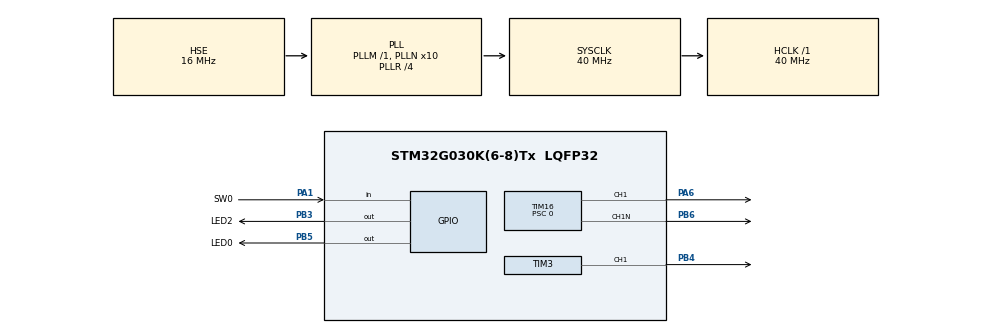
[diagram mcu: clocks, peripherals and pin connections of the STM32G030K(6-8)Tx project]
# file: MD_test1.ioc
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Mcu.Family=STM32G0
Mcu.Name=STM32G030K(6-8)Tx
Mcu.Package=LQFP32
PA1.GPIO_Label=SW0
PA1.Signal=GPIO_Input
PA6.Signal=S_TIM16_CH1
PB3.GPIO_Label=LED2
PB3.Signal=GPIO_Output
PB4.Signal=S_TIM3_CH1
PB5.GPIO_Label=LED0
PB5.Signal=GPIO_Output
PB6.Mode=PWM Generation1 CH1 CH1N
PB6.Signal=TIM16_CH1N
PC14-OSC32_IN\ (PC14).Mode=HSE-External-Clock-Source
PC14-OSC32_IN\ (PC14).Signal=RCC_OSC_IN
ProjectManager.HeapSize=0x200
ProjectManager.StackSize=0x400
ProjectManager.TargetToolchain=STM32CubeIDE
RCC.ADCFreq_Value=40000000
RCC.AHBFreq_Value=40000000
RCC.CortexFreq_Value=40000000
RCC.EXTERNAL_CLOCK_VALUE=12288000
RCC.HCLKFreq_Value=40000000
RCC.HSE_VALUE=16000000
RCC.HSI_VALUE=16000000
RCC.LSE_VALUE=32768
RCC.PLLN=10
RCC.PLLR=RCC_PLLR_DIV4
RCC.PLLSourceVirtual=RCC_PLLSOURCE_HSE
RCC.SYSCLKFreq_VALUE=40000000
RCC.SYSCLKSource=RCC_SYSCLKSOURCE_PLLCLK
RCC.VCOOutputFreq_Value=160000000
SH.S_TIM16_CH1.0=TIM16_CH1,PWM Generation1 CH1 CH1N
SH.S_TIM3_CH1.0=TIM3_CH1,PWM Generation1 CH1
TIM16.Channel=TIM_CHANNEL_1
TIM16.OCMode_PWM=TIM_OCMODE_PWM1
TIM16.Period=1000-1
TIM16.Prescaler=0
TIM3.Channel-PWM\ Generation1\ CH1=TIM_CHANNEL_1
TIM3.Period=399
VP_TIM16_VS_ClockSourceINT.Mode=Enable_Timer
board=custom

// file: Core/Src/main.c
/* USER CODE BEGIN Header */
/**
  ******************************************************************************
  * @file           : main.c
  * @brief          : Main program body
  ******************************************************************************
  * @attention
  *
  * Copyright (c) 2024 STMicroelectronics.
  * All rights reserved.
  *
  * This software is licensed under terms that can be found in the LICENSE file
  * in the root directory of this software component.
  * If no LICENSE file comes with this software, it is provided AS-IS.
  *
  ******************************************************************************
  */
/* USER CODE END Header */
#include "main.h"

TIM_HandleTypeDef htim3;
TIM_HandleTypeDef htim16;

void SystemClock_Config(void);
static void MX_GPIO_Init(void);
static void MX_TIM16_Init(void);
static void MX_TIM3_Init(void);

/* USER CODE BEGIN 0 */

//extern void initialise_monitor_handles(void);//printf初期設�?

/* USER CODE END 0 */

int main(void)
{

  /* USER CODE BEGIN 1 */

//	initialise_monitor_handles();//printf初期�?
	int compare = 499;

  /* USER CODE END 1 */

  /* MCU Configuration--------------------------------------------------------*/

  /* Reset of all peripherals, Initializes the Flash interface and the Systick. */
  HAL_Init();

  /* Configure the system clock */
  SystemClock_Config();

  /* Initialize all configured peripherals */
  MX_GPIO_Init();
  MX_TIM16_Init();
  MX_TIM3_Init();
  /* USER CODE BEGIN 2 */

  HAL_TIM_PWM_Start(&htim3, TIM_CHANNEL_1);

  HAL_TIM_PWM_Start(&htim16, TIM_CHANNEL_1);
  HAL_TIMEx_PWMN_Start(&htim16, TIM_CHANNEL_1);

  __HAL_TIM_SET_COMPARE(&htim3, TIM_CHANNEL_1, 100);
  __HAL_TIM_SET_COMPARE(&htim16, TIM_CHANNEL_1, compare);

  HAL_Delay(2000);

  /* USER CODE END 2 */

  /* Infinite loop */
  while (1)
  {

    /* USER CODE BEGIN 3 */

//	  printf("Dutyは %d です�??\n", compare);
//
//	  HAL_GPIO_WritePin(LED0_GPIO_Port, LED0_Pin, 0);
//	  HAL_Delay(200);
//	  HAL_GPIO_WritePin(LED0_GPIO_Port, LED0_Pin, 1);
//	  HAL_Delay(200);
//
//	  for(int i=5; i<995; i++){
//		  compare = i;
//		  __HAL_TIM_SET_COMPARE(&htim16, TIM_CHANNEL_1, compare);
//		  HAL_Delay(1);
//	  }
//
//	  printf("Dutyは %d です�??\n", compare);
//
//	  HAL_GPIO_WritePin(LED0_GPIO_Port, LED0_Pin, 0);
//	  HAL_Delay(200);
//	  HAL_GPIO_WritePin(LED0_GPIO_Port, LED0_Pin, 1);
//	  HAL_Delay(200);
//
//	  for(int i=995; i>5; i--){
//		  compare = i;
//		  __HAL_TIM_SET_COMPARE(&htim16, TIM_CHANNEL_1, compare);
//		  HAL_Delay(1);
//	  }

	  if(HAL_GPIO_ReadPin(SW0_GPIO_Port, SW0_Pin) == 0){
		  for(int i = compare; i<990; i++){
			  compare = i;
			  __HAL_TIM_SET_COMPARE(&htim16, TIM_CHANNEL_1, compare);
			  HAL_Delay(1);
		  }
//		  __HAL_TIM_SET_COMPARE(&htim16, TIM_CHANNEL_1, 989);
		  for(int i = compare; i>10; i--){
			  compare = i;
			  __HAL_TIM_SET_COMPARE(&htim16, TIM_CHANNEL_1, compare);
			  HAL_Delay(1);
		  }
//		  __HAL_TIM_SET_COMPARE(&htim16, TIM_CHANNEL_1, 11);

	  }else{
		  __HAL_TIM_SET_COMPARE(&htim16, TIM_CHANNEL_1, 499);
	  }
  }

  /* USER CODE END 3 */
}

void SystemClock_Config(void)
{
  RCC_OscInitTypeDef RCC_OscInitStruct = {0};
  RCC_ClkInitTypeDef RCC_ClkInitStruct = {0};

  /** Configure the main internal regulator output voltage
  */
  HAL_PWREx_ControlVoltageScaling(PWR_REGULATOR_VOLTAGE_SCALE1);

  /** Initializes the RCC Oscillators according to the specified parameters
  * in the RCC_OscInitTypeDef structure.
  */
  RCC_OscInitStruct.OscillatorType = RCC_OSCILLATORTYPE_HSE;
  RCC_OscInitStruct.HSEState = RCC_HSE_BYPASS;
  RCC_OscInitStruct.PLL.PLLState = RCC_PLL_ON;
  RCC_OscInitStruct.PLL.PLLSource = RCC_PLLSOURCE_HSE;
  RCC_OscInitStruct.PLL.PLLM = RCC_PLLM_DIV1;
  RCC_OscInitStruct.PLL.PLLN = 10;
  RCC_OscInitStruct.PLL.PLLP = RCC_PLLP_DIV2;
  RCC_OscInitStruct.PLL.PLLR = RCC_PLLR_DIV4;
  if (HAL_RCC_OscConfig(&RCC_OscInitStruct) != HAL_OK)
  {
    Error_Handler();
  }

  /** Initializes the CPU, AHB and APB buses clocks
  */
  RCC_ClkInitStruct.ClockType = RCC_CLOCKTYPE_HCLK|RCC_CLOCKTYPE_SYSCLK
                              |RCC_CLOCKTYPE_PCLK1;
  RCC_ClkInitStruct.SYSCLKSource = RCC_SYSCLKSOURCE_PLLCLK;
  RCC_ClkInitStruct.AHBCLKDivider = RCC_SYSCLK_DIV1;
  RCC_ClkInitStruct.APB1CLKDivider = RCC_HCLK_DIV1;

  if (HAL_RCC_ClockConfig(&RCC_ClkInitStruct, FLASH_LATENCY_1) != HAL_OK)
  {
    Error_Handler();
  }
}

static void MX_TIM3_Init(void)
{

  TIM_MasterConfigTypeDef sMasterConfig = {0};
  TIM_OC_InitTypeDef sConfigOC = {0};

  htim3.Instance = TIM3;
  htim3.Init.Prescaler = 0;
  htim3.Init.CounterMode = TIM_COUNTERMODE_UP;
  htim3.Init.Period = 399;
  htim3.Init.ClockDivision = TIM_CLOCKDIVISION_DIV1;
  htim3.Init.AutoReloadPreload = TIM_AUTORELOAD_PRELOAD_DISABLE;
  if (HAL_TIM_PWM_Init(&htim3) != HAL_OK)
  {
    Error_Handler();
  }
  sMasterConfig.MasterOutputTrigger = TIM_TRGO_RESET;
  sMasterConfig.MasterSlaveMode = TIM_MASTERSLAVEMODE_DISABLE;
  if (HAL_TIMEx_MasterConfigSynchronization(&htim3, &sMasterConfig) != HAL_OK)
  {
    Error_Handler();
  }
  sConfigOC.OCMode = TIM_OCMODE_PWM1;
  sConfigOC.Pulse = 0;
  sConfigOC.OCPolarity = TIM_OCPOLARITY_HIGH;
  sConfigOC.OCFastMode = TIM_OCFAST_DISABLE;
  if (HAL_TIM_PWM_ConfigChannel(&htim3, &sConfigOC, TIM_CHANNEL_1) != HAL_OK)
  {
    Error_Handler();
  }
  HAL_TIM_MspPostInit(&htim3);

}

static void MX_TIM16_Init(void)
{

  TIM_OC_InitTypeDef sConfigOC = {0};
  TIM_BreakDeadTimeConfigTypeDef sBreakDeadTimeConfig = {0};

  htim16.Instance = TIM16;
  htim16.Init.Prescaler = 0;
  htim16.Init.CounterMode = TIM_COUNTERMODE_UP;
  htim16.Init.Period = 1000-1;
  htim16.Init.ClockDivision = TIM_CLOCKDIVISION_DIV1;
  htim16.Init.RepetitionCounter = 0;
  htim16.Init.AutoReloadPreload = TIM_AUTORELOAD_PRELOAD_DISABLE;
  if (HAL_TIM_Base_Init(&htim16) != HAL_OK)
  {
    Error_Handler();
  }
  if (HAL_TIM_PWM_Init(&htim16) != HAL_OK)
  {
    Error_Handler();
  }
  sConfigOC.OCMode = TIM_OCMODE_PWM1;
  sConfigOC.Pulse = 0;
  sConfigOC.OCPolarity = TIM_OCPOLARITY_HIGH;
  sConfigOC.OCNPolarity = TIM_OCNPOLARITY_HIGH;
  sConfigOC.OCFastMode = TIM_OCFAST_DISABLE;
  sConfigOC.OCIdleState = TIM_OCIDLESTATE_RESET;
  sConfigOC.OCNIdleState = TIM_OCNIDLESTATE_RESET;
  if (HAL_TIM_PWM_ConfigChannel(&htim16, &sConfigOC, TIM_CHANNEL_1) != HAL_OK)
  {
    Error_Handler();
  }
  sBreakDeadTimeConfig.OffStateRunMode = TIM_OSSR_DISABLE;
  sBreakDeadTimeConfig.OffStateIDLEMode = TIM_OSSI_DISABLE;
  sBreakDeadTimeConfig.LockLevel = TIM_LOCKLEVEL_OFF;
  sBreakDeadTimeConfig.DeadTime = 0;
  sBreakDeadTimeConfig.BreakState = TIM_BREAK_DISABLE;
  sBreakDeadTimeConfig.BreakPolarity = TIM_BREAKPOLARITY_HIGH;
  sBreakDeadTimeConfig.BreakFilter = 0;
  sBreakDeadTimeConfig.AutomaticOutput = TIM_AUTOMATICOUTPUT_DISABLE;
  if (HAL_TIMEx_ConfigBreakDeadTime(&htim16, &sBreakDeadTimeConfig) != HAL_OK)
  {
    Error_Handler();
  }
  HAL_TIM_MspPostInit(&htim16);

}

static void MX_GPIO_Init(void)
{
  GPIO_InitTypeDef GPIO_InitStruct = {0};

  /* GPIO Ports Clock Enable */
  __HAL_RCC_GPIOC_CLK_ENABLE();
  __HAL_RCC_GPIOA_CLK_ENABLE();
  __HAL_RCC_GPIOB_CLK_ENABLE();

  /*Configure GPIO pin Output Level */
  HAL_GPIO_WritePin(GPIOB, LED2_Pin|LED0_Pin, GPIO_PIN_RESET);

  /*Configure GPIO pin : SW0_Pin */
  GPIO_InitStruct.Pin = SW0_Pin;
  GPIO_InitStruct.Mode = GPIO_MODE_INPUT;
  GPIO_InitStruct.Pull = GPIO_NOPULL;
  HAL_GPIO_Init(SW0_GPIO_Port, &GPIO_InitStruct);

  /*Configure GPIO pins : LED2_Pin LED0_Pin */
  GPIO_InitStruct.Pin = LED2_Pin|LED0_Pin;
  GPIO_InitStruct.Mode = GPIO_MODE_OUTPUT_PP;
  GPIO_InitStruct.Pull = GPIO_NOPULL;
  GPIO_InitStruct.Speed = GPIO_SPEED_FREQ_LOW;
  HAL_GPIO_Init(GPIOB, &GPIO_InitStruct);

}

void Error_Handler(void)
{
  __disable_irq();
  while (1)
  {
  }
}
